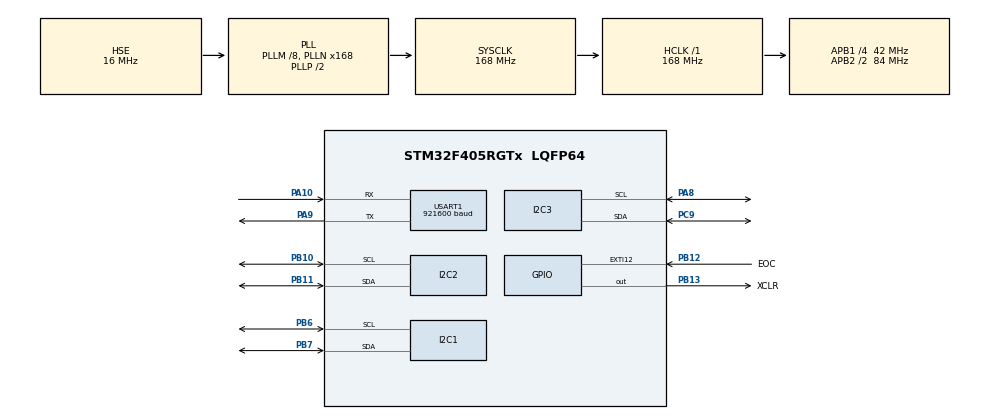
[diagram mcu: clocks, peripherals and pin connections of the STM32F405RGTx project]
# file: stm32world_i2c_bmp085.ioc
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I2C1.I2C_Mode=I2C_Fast
I2C2.I2C_Mode=I2C_Fast
I2C3.I2C_Mode=I2C_Fast
Mcu.Family=STM32F4
Mcu.Name=STM32F405RGTx
Mcu.Package=LQFP64
NVIC.PriorityGroup=NVIC_PRIORITYGROUP_4
PA10.Mode=Asynchronous
PA10.Signal=USART1_RX
PA13.Mode=Trace_Asynchronous_SW
PA13.Signal=SYS_JTMS-SWDIO
PA14.Mode=Trace_Asynchronous_SW
PA14.Signal=SYS_JTCK-SWCLK
PA8.GPIO_Pu=GPIO_PULLUP
PA8.Mode=I2C
PA8.Signal=I2C3_SCL
PA9.Mode=Asynchronous
PA9.Signal=USART1_TX
PB10.GPIO_Pu=GPIO_PULLUP
PB10.Mode=I2C
PB10.Signal=I2C2_SCL
PB11.GPIO_Pu=GPIO_PULLUP
PB11.Mode=I2C
PB11.Signal=I2C2_SDA
PB12.GPIO_Label=EOC
PB12.Signal=GPXTI12
PB13.GPIO_Label=XCLR
PB13.PinState=GPIO_PIN_SET
PB13.Signal=GPIO_Output
PB3.Mode=Trace_Asynchronous_SW
PB3.Signal=SYS_JTDO-SWO
PB6.Mode=I2C
PB6.Signal=I2C1_SCL
PB7.Mode=I2C
PB7.Signal=I2C1_SDA
PC9.GPIO_Pu=GPIO_PULLUP
PC9.Mode=I2C
PC9.Signal=I2C3_SDA
PH0-OSC_IN.Mode=HSE-External-Oscillator
PH0-OSC_IN.Signal=RCC_OSC_IN
PH1-OSC_OUT.Mode=HSE-External-Oscillator
PH1-OSC_OUT.Signal=RCC_OSC_OUT
ProjectManager.HeapSize=0x200
ProjectManager.StackSize=0x400
ProjectManager.TargetToolchain=STM32CubeIDE
RCC.48MHZClocksFreq_Value=84000000
RCC.AHBFreq_Value=168000000
RCC.APB1CLKDivider=RCC_HCLK_DIV4
RCC.APB1Freq_Value=42000000
RCC.APB1TimFreq_Value=84000000
RCC.APB2CLKDivider=RCC_HCLK_DIV2
RCC.APB2Freq_Value=84000000
RCC.APB2TimFreq_Value=168000000
RCC.CortexFreq_Value=168000000
RCC.HCLKFreq_Value=168000000
RCC.HSE_VALUE=16000000
RCC.HSI_VALUE=16000000
RCC.LSE_VALUE=32768
RCC.PLLM=8
RCC.PLLN=168
RCC.PLLSourceVirtual=RCC_PLLSOURCE_HSE
RCC.SYSCLKFreq_VALUE=168000000
RCC.SYSCLKSource=RCC_SYSCLKSOURCE_PLLCLK
RCC.VCOOutputFreq_Value=336000000
USART1.BaudRate=921600
USART1.VirtualMode=VM_ASYNC
board=custom

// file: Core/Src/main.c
/* USER CODE BEGIN Header */
/**
 ******************************************************************************
 * @file           : main.c
 * @brief          : Main program body
 ******************************************************************************
 * @attention
 *
 * Copyright (c) 2024 Lars Boegild Thomsen <lth@stm32world.com>
 * All rights reserved.
 *
 * This software is licensed under terms that can be found in the LICENSE file
 * in the root directory of this software component.
 * If no LICENSE file comes with this software, it is provided AS-IS.
 *
 ******************************************************************************
 */
/* USER CODE END Header */
#include "main.h"

/* USER CODE BEGIN Includes */
#include <stdio.h>
#include "bmp085.h"
/* USER CODE END Includes */

I2C_HandleTypeDef hi2c1;
I2C_HandleTypeDef hi2c2;
I2C_HandleTypeDef hi2c3;

UART_HandleTypeDef huart1;

/* USER CODE BEGIN PV */
BMP085_HandleTypeDef bmp085;
/* USER CODE END PV */

void SystemClock_Config(void);
static void MX_GPIO_Init(void);
static void MX_USART1_UART_Init(void);
static void MX_I2C1_Init(void);
static void MX_I2C2_Init(void);
static void MX_I2C3_Init(void);

/* USER CODE BEGIN 0 */

// Send printf to uart1
int _write(int fd, char *ptr, int len) {
    HAL_StatusTypeDef hstatus;

    if (fd == 1 || fd == 2) {
        hstatus = HAL_UART_Transmit(&huart1, (uint8_t*) ptr, len, HAL_MAX_DELAY);
        if (hstatus == HAL_OK)
            return len;
        else
            return -1;
    }
    return -1;
}

/* USER CODE END 0 */

int main(void)
{

    /* MCU Configuration--------------------------------------------------------*/

    /* Reset of all peripherals, Initializes the Flash interface and the Systick. */
    HAL_Init();

    /* Configure the system clock */
    SystemClock_Config();

    /* Initialize all configured peripherals */
    MX_GPIO_Init();
    MX_USART1_UART_Init();
    MX_I2C1_Init();
    MX_I2C2_Init();
    MX_I2C3_Init();
    /* USER CODE BEGIN 2 */

    printf("\n\n\n--------\nStarting\n");

    printf("Scan i2c1\n");
    // Go through all possible i2c addresses
    for (uint8_t i = 0; i < 128; i++) {

        if (HAL_I2C_IsDeviceReady(&hi2c1, (uint16_t) (i << 1), 3, 5) == HAL_OK) {
            // We got an ack
            printf("%2x ", i);
        } else {
            printf("-- ");
        }

        if (i > 0 && (i + 1) % 16 == 0)
            printf("\n");

    }

    printf("\n");

    if (bmp085_init(&bmp085, &hi2c1, BMP085_DEFAULT_ADDR) != BMP085_Ok) {
        printf("BMP095 Error!\n");
    }

    /* USER CODE END 2 */

    /* Infinite loop */
    /* USER CODE BEGIN WHILE */

    uint32_t now = 0, next_tick = 1000;

    while (1) {

        now = uwTick;

        if (now >= next_tick) {

            float temperature;

            if (bmp085_get_temperature(&bmp085, &temperature) != BMP085_Ok) {
                printf("Err\n");
            }

            float pressure;

            if (bmp085_get_pressure(&bmp085, &pressure) != BMP085_Ok) {
                printf("Err\n");
            }

            printf("Tick %lu - temp = %0.1f°C / %0.1f°F pres = %0.0f Pa / %0.1f mbar %0.2f inHg\n", now / 1000, temperature, temperature * 1.8 + 32, pressure, pressure * 0.01, pressure * 0.00029529983071445);

            next_tick = now + 1000;

        }

        /* USER CODE END WHILE */

    }
}

void SystemClock_Config(void)
{
    RCC_OscInitTypeDef RCC_OscInitStruct = { 0 };
    RCC_ClkInitTypeDef RCC_ClkInitStruct = { 0 };

    /** Configure the main internal regulator output voltage
     */
    __HAL_RCC_PWR_CLK_ENABLE();
    __HAL_PWR_VOLTAGESCALING_CONFIG(PWR_REGULATOR_VOLTAGE_SCALE1);

    /** Initializes the RCC Oscillators according to the specified parameters
     * in the RCC_OscInitTypeDef structure.
     */
    RCC_OscInitStruct.OscillatorType = RCC_OSCILLATORTYPE_HSE;
    RCC_OscInitStruct.HSEState = RCC_HSE_ON;
    RCC_OscInitStruct.PLL.PLLState = RCC_PLL_ON;
    RCC_OscInitStruct.PLL.PLLSource = RCC_PLLSOURCE_HSE;
    RCC_OscInitStruct.PLL.PLLM = 8;
    RCC_OscInitStruct.PLL.PLLN = 168;
    RCC_OscInitStruct.PLL.PLLP = RCC_PLLP_DIV2;
    RCC_OscInitStruct.PLL.PLLQ = 4;
    if (HAL_RCC_OscConfig(&RCC_OscInitStruct) != HAL_OK)
            {
        Error_Handler();
    }

    /** Initializes the CPU, AHB and APB buses clocks
     */
    RCC_ClkInitStruct.ClockType = RCC_CLOCKTYPE_HCLK | RCC_CLOCKTYPE_SYSCLK
            | RCC_CLOCKTYPE_PCLK1 | RCC_CLOCKTYPE_PCLK2;
    RCC_ClkInitStruct.SYSCLKSource = RCC_SYSCLKSOURCE_PLLCLK;
    RCC_ClkInitStruct.AHBCLKDivider = RCC_SYSCLK_DIV1;
    RCC_ClkInitStruct.APB1CLKDivider = RCC_HCLK_DIV4;
    RCC_ClkInitStruct.APB2CLKDivider = RCC_HCLK_DIV2;

    if (HAL_RCC_ClockConfig(&RCC_ClkInitStruct, FLASH_LATENCY_5) != HAL_OK)
            {
        Error_Handler();
    }
}

static void MX_I2C1_Init(void)
{

    hi2c1.Instance = I2C1;
    hi2c1.Init.ClockSpeed = 400000;
    hi2c1.Init.DutyCycle = I2C_DUTYCYCLE_2;
    hi2c1.Init.OwnAddress1 = 0;
    hi2c1.Init.AddressingMode = I2C_ADDRESSINGMODE_7BIT;
    hi2c1.Init.DualAddressMode = I2C_DUALADDRESS_DISABLE;
    hi2c1.Init.OwnAddress2 = 0;
    hi2c1.Init.GeneralCallMode = I2C_GENERALCALL_DISABLE;
    hi2c1.Init.NoStretchMode = I2C_NOSTRETCH_DISABLE;
    if (HAL_I2C_Init(&hi2c1) != HAL_OK)
            {
        Error_Handler();
    }

}

static void MX_I2C2_Init(void)
{

    hi2c2.Instance = I2C2;
    hi2c2.Init.ClockSpeed = 400000;
    hi2c2.Init.DutyCycle = I2C_DUTYCYCLE_2;
    hi2c2.Init.OwnAddress1 = 0;
    hi2c2.Init.AddressingMode = I2C_ADDRESSINGMODE_7BIT;
    hi2c2.Init.DualAddressMode = I2C_DUALADDRESS_DISABLE;
    hi2c2.Init.OwnAddress2 = 0;
    hi2c2.Init.GeneralCallMode = I2C_GENERALCALL_DISABLE;
    hi2c2.Init.NoStretchMode = I2C_NOSTRETCH_DISABLE;
    if (HAL_I2C_Init(&hi2c2) != HAL_OK)
            {
        Error_Handler();
    }

}

static void MX_I2C3_Init(void)
{

    hi2c3.Instance = I2C3;
    hi2c3.Init.ClockSpeed = 400000;
    hi2c3.Init.DutyCycle = I2C_DUTYCYCLE_2;
    hi2c3.Init.OwnAddress1 = 0;
    hi2c3.Init.AddressingMode = I2C_ADDRESSINGMODE_7BIT;
    hi2c3.Init.DualAddressMode = I2C_DUALADDRESS_DISABLE;
    hi2c3.Init.OwnAddress2 = 0;
    hi2c3.Init.GeneralCallMode = I2C_GENERALCALL_DISABLE;
    hi2c3.Init.NoStretchMode = I2C_NOSTRETCH_DISABLE;
    if (HAL_I2C_Init(&hi2c3) != HAL_OK)
            {
        Error_Handler();
    }

}

static void MX_USART1_UART_Init(void)
{

    huart1.Instance = USART1;
    huart1.Init.BaudRate = 921600;
    huart1.Init.WordLength = UART_WORDLENGTH_8B;
    huart1.Init.StopBits = UART_STOPBITS_1;
    huart1.Init.Parity = UART_PARITY_NONE;
    huart1.Init.Mode = UART_MODE_TX_RX;
    huart1.Init.HwFlowCtl = UART_HWCONTROL_NONE;
    huart1.Init.OverSampling = UART_OVERSAMPLING_16;
    if (HAL_UART_Init(&huart1) != HAL_OK)
            {
        Error_Handler();
    }

}

static void MX_GPIO_Init(void)
{
    GPIO_InitTypeDef GPIO_InitStruct = { 0 };

    /* GPIO Ports Clock Enable */
    __HAL_RCC_GPIOH_CLK_ENABLE();
    __HAL_RCC_GPIOB_CLK_ENABLE();
    __HAL_RCC_GPIOC_CLK_ENABLE();
    __HAL_RCC_GPIOA_CLK_ENABLE();

    /*Configure GPIO pin Output Level */
    HAL_GPIO_WritePin(XCLR_GPIO_Port, XCLR_Pin, GPIO_PIN_SET);

    /*Configure GPIO pin : EOC_Pin */
    GPIO_InitStruct.Pin = EOC_Pin;
    GPIO_InitStruct.Mode = GPIO_MODE_IT_RISING;
    GPIO_InitStruct.Pull = GPIO_NOPULL;
    HAL_GPIO_Init(EOC_GPIO_Port, &GPIO_InitStruct);

    /*Configure GPIO pin : XCLR_Pin */
    GPIO_InitStruct.Pin = XCLR_Pin;
    GPIO_InitStruct.Mode = GPIO_MODE_OUTPUT_PP;
    GPIO_InitStruct.Pull = GPIO_NOPULL;
    GPIO_InitStruct.Speed = GPIO_SPEED_FREQ_LOW;
    HAL_GPIO_Init(XCLR_GPIO_Port, &GPIO_InitStruct);

}

void Error_Handler(void)
{
    __disable_irq();
    while (1)
    {
    }
}
